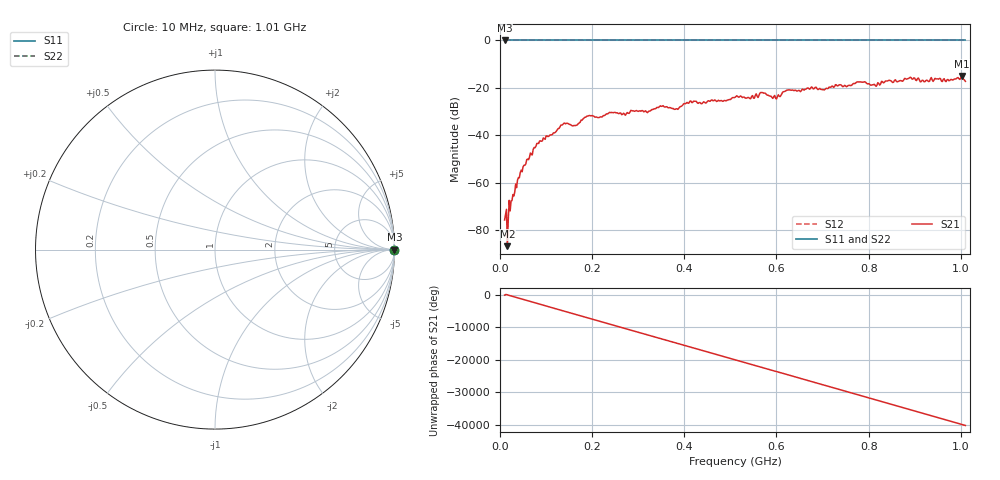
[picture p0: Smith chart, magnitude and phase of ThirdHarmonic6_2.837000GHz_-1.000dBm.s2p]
! 8/17/2025 7:36:05 AM
! C:\ANRITSUVNA\TEMP\TEMP.S2P
! CHANNEL.1
! TR.MEASUREMENT
! RAW.DATA
! RF.CORRECTION.OFF
! AVERAGING.OFF
! IF.BANDWIDTH: 5KHZ
! SWEEPTYPE:  FREQ.SWEEP(Linear)
! Reference Plane Port Info
! PORT:  PORT1  PORT2
! DISTANCE:  0  m  0  m
! TIME:  0  s  0  s
! PHASE.OFFSET:  0  deg.  0  deg.
! LOSS:  0  dB  0  dB
! REF.LOSS:  0  dB  0  dB
! REF.FREQ:  0  Hz  0  Hz
! Power Info
! POWER:  -20  dBm  -20  dBm
! EFF.POWER:  -20  dBm  -20  dBm
! SOURCE.ATTEN:  0  dB  0  dB
! TEST.ATTEN:  0  dB  0  dB
# GHZ S RI R 50.0
! FREQ.GHZ  S11RE  S11IM  S21RE  S21IM  S12RE  S12IM  S22RE  S22IM
!; PortSelection: Port_12
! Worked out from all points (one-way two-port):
!   501 points, 10 MHz to 1.01 GHz, reference 50 ohm
!   highest |S21| = -14.92 dB at 1.002 GHz (marker M1); lowest = -86.6 dB at 16 MHz (marker M2)
!   lowest |S11| = 0.0 dB at 10 MHz (marker M3)
!   |S11| at or under -10 dB: nowhere
!   |S22| runs from 0.0 to 0.0 dB; largest |S21 - S12| = 1.2
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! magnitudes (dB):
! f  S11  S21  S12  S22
! 10 MHz  0.0  -75.6  0.0  0.0
! 14 MHz  0.0  -71.1  0.0  0.0
! 16 MHz  0.0  -86.6  0.0  0.0
! 20 MHz  0.0  -67.3  0.0  0.0
! 24 MHz  0.0  -67.5  0.0  0.0
! 42 MHz  0.0  -57.8  0.0  0.0
! 78 MHz  0.0  -44.5  0.0  0.0
! 136 MHz  0.0  -35.5  0.0  0.0
! 162 MHz  0.0  -35.8  0.0  0.0
! 178 MHz  0.0  -33.6  0.0  0.0
! 344 MHz  0.0  -28.2  0.0  0.0
! 382 MHz  0.0  -28.8  0.0  0.0
! 410 MHz  0.0  -26.4  0.0  0.0
! 510 MHz  0.0  -23.9  0.0  0.0
! 570 MHz  0.0  -22.0  0.0  0.0
! 596 MHz  0.0  -23.2  0.0  0.0
! 624 MHz  0.0  -20.9  0.0  0.0
! 678 MHz  0.0  -19.9  0.0  0.0
! 814 MHz  0.0  -18.8  0.0  0.0
! 844 MHz  0.0  -16.8  0.0  0.0
! 1.002 GHz  0.0  -14.9  0.0  0.0
! 1.01 GHz  0.0  -17.2  0.0  0.0
